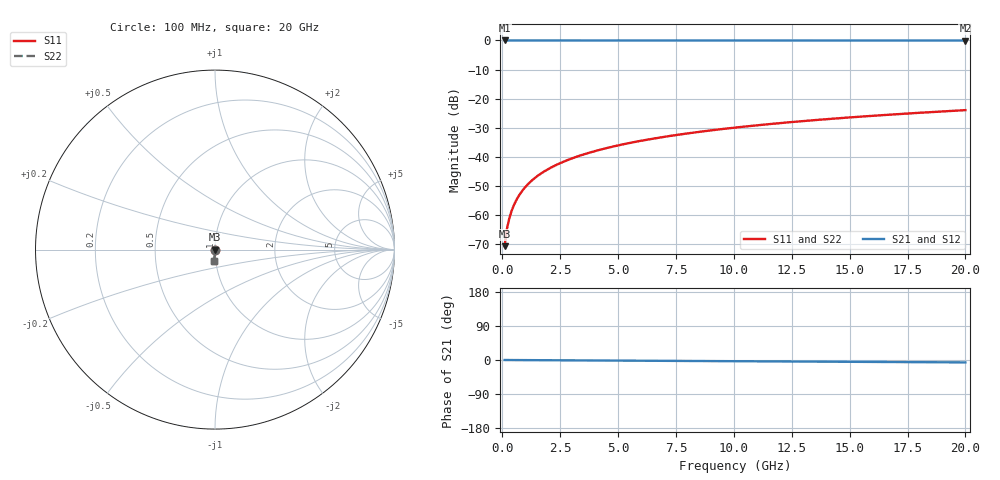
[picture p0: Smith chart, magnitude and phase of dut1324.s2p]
! Touchstone file exported from HFSS 2026.1.0
!  File:  C:/ffzhzh/LocalFiles/Ansys_Project_Files/temp_train_TSV_1324_1783195263_43440.aedt
!  Generated:  04:02:22 AM Jul  5, 2026
!  Design:  TSV
!  Project:  temp_train_TSV_1324_1783195263_43440
! Variables:
!  h_bsmrdl = 2um
!  h_ox = 20um
!  h_rdl = 5um
!  h_sub = 53.1um
!  h_tmrdl = 5um
!  h_tsv = 53.1um
!  h_via = 3um
!  l_bsmrdl = 300um
!  l_sub = 429.14um
!  l_tmrdl = 200um
!  m_sub = 200um
!  pitch = 36.6um
!  r_tsv = 14.57um
!  s_tmrdl = 10um
!  w_bsmrdl = 18um
!  w_sub = 500um
!  w_tmrdl = 12um
!  x_tsv_center1 = 206um
!  x_tsv_center2 = 524um
!  x_tsv_center3 = 736um
!  x_tsv_center4 = 1054um
!  x_tsv_center5 = 1266um
!  x_tsv_center6 = 1584um
# GHz S MA R 50.000000
! Terminal data exported
! Port[1] = TSV1_1_T1
! Port[2] = TSV1_1_T2
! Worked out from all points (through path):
!   200 points, 100 MHz to 20 GHz, reference 50 ohm
!   highest |S21| = 0.00 dB at 100 MHz (marker M1); lowest = 0.0 dB at 20 GHz (marker M2)
!   lowest |S11| = -70.8 dB at 100 MHz (marker M3), VSWR 1.00, Z = 50 - j0.0281 ohm
!   |S11| at or under -10 dB: start of sweep to end of sweep
!   |S22| runs from -70.8 to -24.0 dB; largest |S21 - S12| = 1e-15
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0.1  0.000288 -77.2  0.9999 -0.0  0.9999 -0.0  0.000288 -77.2
! Gamma 0 0 0 0
! Port Impedance 50 0 50 0
0.2  0.0005702 -82.4  0.9999 -0.1  0.9999 -0.1  0.0005702 -82.4
0.3  0.0008604 -83.8  0.9999 -0.1  0.9999 -0.1  0.0008604 -83.8
0.4  0.001157 -84.5  0.9999 -0.1  0.9999 -0.1  0.001157 -84.5
0.5  0.00146 -84.9  0.9999 -0.2  0.9999 -0.2  0.00146 -84.9
0.7  0.002078 -85.5  0.9998 -0.2  0.9998 -0.2  0.002078 -85.5
0.8  0.00239 -85.8  0.9998 -0.3  0.9998 -0.3  0.00239 -85.8
1  0.003018 -86.3  0.9998 -0.3  0.9998 -0.3  0.003018 -86.3
1.2  0.003647 -86.8  0.9998 -0.4  0.9998 -0.4  0.003647 -86.8
1.4  0.004277 -87.1  0.9997 -0.5  0.9997 -0.5  0.004277 -87.1
1.7  0.005221 -87.6  0.9997 -0.6  0.9997 -0.6  0.005221 -87.6
2  0.006164 -88.0  0.9997 -0.6  0.9997 -0.6  0.006164 -88.0
2.7  0.008365 -88.7  0.9996 -0.9  0.9996 -0.9  0.008365 -88.7
3.5  0.01088 -89.2  0.9996 -1.1  0.9996 -1.1  0.01088 -89.2
4.2  0.01309 -89.6  0.9995 -1.3  0.9995 -1.3  0.01309 -89.6
5  0.01562 -90.0  0.9994 -1.6  0.9994 -1.6  0.01562 -90.0
6.8  0.02132 -90.8  0.9993 -2.2  0.9993 -2.2  0.02132 -90.8
8.3  0.02608 -91.4  0.9991 -2.6  0.9991 -2.6  0.02608 -91.4
10.1  0.03179 -92.1  0.9989 -3.2  0.9989 -3.2  0.03179 -92.1
13.4  0.04226 -93.3  0.9984 -4.3  0.9984 -4.3  0.04226 -93.3
16.7  0.05272 -94.4  0.9978 -5.3  0.9978 -5.3  0.05272 -94.4
20  0.06316 -95.5  0.9971 -6.3  0.9971 -6.3  0.06316 -95.5
